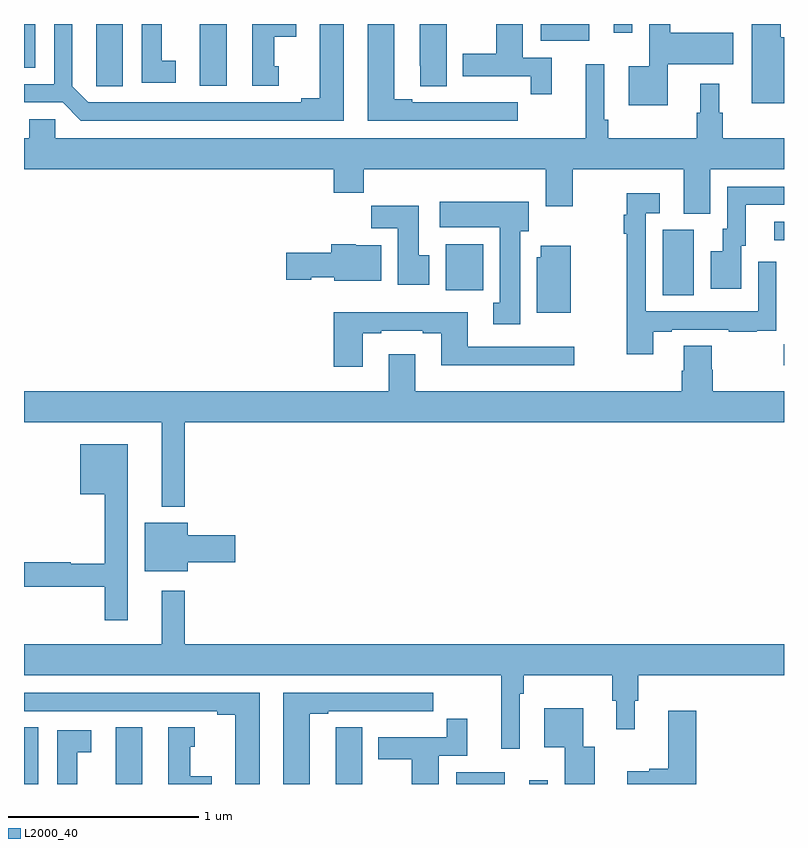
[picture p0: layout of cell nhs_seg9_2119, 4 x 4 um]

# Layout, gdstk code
import gdstk
lib = gdstk.Library(unit=1e-6, precision=1e-09)
def R(c, l, rs):  # rectangles x0, y0, x1, y1
    for r in rs: c.add(gdstk.rectangle(r[:2], r[2:], *l))
def P(c, l, *ps):  # polygons
    for p in ps: c.add(gdstk.Polygon(p, *l))
L2000_40 = (2000, 40)

nhs_seg9_2119 = lib.new_cell('nhs_seg9_2119')
R(nhs_seg9_2119, L2000_40, [(231,1210.5,231.076,1210.799), (231.482,1210.5,231.622,1210.798), (233.276,1210.5,233.53,1210.561), (233.66,1210.5,233.757,1210.519), (234.999,1212.704,235,1212.814), (234.362,1213.072,234.526,1213.416), (233.219,1213.1,233.416,1213.342), (234.948,1213.362,235,1213.458), (231.926,1214.175,232.066,1214.5), (231,1214.269,231.058,1214.5), (233.72,1214.411,233.974,1214.5), (234.104,1214.454,234.201,1214.5)])
P(nhs_seg9_2119, L2000_40, [(235,1214.43),(234.983,1214.43),(234.983,1214.5),(234.83,1214.5),(234.83,1214.082),(235,1214.082)],
  [(231.52,1214.5),(231.38,1214.5),(231.38,1214.281),(231.381,1214.281),(231.381,1214.173),(231.52,1214.173)],
  [(233.224,1214.5),(233.084,1214.5),(233.084,1214.281),(233.085,1214.281),(233.085,1214.173),(233.224,1214.173)],
  [(233.777,1214.322),(233.626,1214.322),(233.626,1214.5),(233.486,1214.5),(233.486,1214.343),(233.309,1214.343),(233.309,1214.226),(233.668,1214.226),(233.668,1214.13),(233.777,1214.13)],
  [(232.342,1214.277),(232.318,1214.277),(232.318,1214.432),(232.432,1214.432),(232.432,1214.5),(232.202,1214.5),(232.202,1214.175),(232.342,1214.175)],
  [(233.599,1214.088),(233.486,1214.088),(233.486,1214.089),(233.32,1214.089),(233.32,1214.088),(233.044,1214.088),(233.044,1214.103),(232.948,1214.103),(232.948,1214.5),(232.808,1214.5),(232.808,1213.992),(233.599,1213.992)],
  [(234.388,1214.288),(234.733,1214.288),(234.733,1214.454),(234.4,1214.454),(234.4,1214.5),(234.291,1214.5),(234.291,1214.278),(234.182,1214.278),(234.182,1214.072),(234.388,1214.072)],
  [(231.799,1214.306),(231.724,1214.306),(231.724,1214.5),(231.62,1214.5),(231.62,1214.19),(231.799,1214.19)],
  [(232.684,1214.5),(232.556,1214.5),(232.556,1214.108),(232.46,1214.108),(232.46,1214.088),(231.339,1214.088),(231.255,1214.172),(231.255,1214.5),(231.159,1214.5),(231.159,1214.184),(231,1214.184),(231,1214.088),(231.203,1214.088),(231.299,1213.992),(232.684,1213.992)],
  [(234.613,1213.736),(235,1213.736),(235,1213.9),(234.677,1213.9),(234.677,1214.034),(234.658,1214.034),(234.658,1214.185),(234.56,1214.185),(234.56,1214.034),(234.541,1214.034),(234.541,1213.9),(234.074,1213.9),(234.074,1213.996),(234.054,1213.996),(234.054,1214.287),(233.957,1214.287),(233.957,1213.9),(231.165,1213.9),(231.165,1213.998),(231.027,1213.998),(231.027,1213.9),(231,1213.9),(231,1213.736),(232.631,1213.736),(232.631,1213.612),(232.787,1213.612),(232.787,1213.736),(233.747,1213.736),(233.747,1213.542),(233.887,1213.542),(233.887,1213.736),(234.473,1213.736),(234.473,1213.501),(234.613,1213.501)],
  [(234.775,1213.332),(234.799,1213.332),(234.799,1213.548),(235,1213.548),(235,1213.644),(234.702,1213.644),(234.702,1213.422),(234.677,1213.422),(234.677,1213.303),(234.614,1213.303),(234.614,1213.107),(234.775,1213.107)],
  [(234.313,1212.879),(234.409,1212.879),(234.409,1212.891),(234.709,1212.891),(234.709,1212.879),(234.857,1212.879),(234.857,1212.885),(234.959,1212.885),(234.959,1212.994),(234.96,1212.994),(234.96,1213.249),(234.864,1213.249),(234.864,1212.987),(234.273,1212.987),(234.273,1213.503),(234.346,1213.503),(234.346,1213.609),(234.172,1213.609),(234.172,1213.496),(234.157,1213.496),(234.157,1213.396),(234.172,1213.396),(234.172,1212.762),(234.313,1212.762)],
  [(233.611,1213.41),(233.656,1213.41),(233.656,1213.564),(233.187,1213.564),(233.187,1213.43),(233.504,1213.43),(233.504,1213.034),(233.471,1213.034),(233.471,1212.921),(233.611,1212.921)],
  [(233.134,1213.284),(233.077,1213.284),(233.077,1213.543),(232.828,1213.543),(232.828,1213.424),(232.967,1213.424),(232.967,1213.128),(233.134,1213.128)],
  [(232.879,1213.336),(232.746,1213.336),(232.746,1213.342),(232.616,1213.342),(232.616,1213.296),(232.38,1213.296),(232.38,1213.154),(232.512,1213.154),(232.512,1213.166),(232.632,1213.166),(232.632,1213.148),(232.879,1213.148)],
  [(233.878,1213.333),(233.72,1213.333),(233.72,1213.272),(233.699,1213.272),(233.699,1212.98),(233.878,1212.98)],
  [(232.783,1212.873),(232.879,1212.873),(232.879,1212.885),(233.099,1212.885),(233.099,1212.873),(233.195,1212.873),(233.195,1212.704),(233.896,1212.704),(233.896,1212.801),(233.335,1212.801),(233.335,1212.982),(232.631,1212.982),(232.631,1212.696),(232.783,1212.696)],
  [(234.473,1212.806),(234.473,1212.674),(234.461,1212.674),(234.461,1212.568),(233.059,1212.568),(233.059,1212.763),(232.919,1212.763),(232.919,1212.568),(231,1212.568),(231,1212.404),(231.725,1212.404),(231.725,1211.96),(231.847,1211.96),(231.847,1212.404),(235,1212.404),(235,1212.568),(234.626,1212.568),(234.626,1212.681),(234.621,1212.681),(234.621,1212.806)],
  [(231.547,1212.289),(231.296,1212.289),(231.296,1212.026),(231.426,1212.026),(231.426,1211.659),(231.247,1211.659),(231.247,1211.666),(231,1211.666),(231,1211.538),(231.426,1211.538),(231.426,1211.361),(231.547,1211.361)],
  [(231.862,1211.668),(232.111,1211.668),(232.111,1211.81),(231.862,1211.81),(231.862,1211.875),(231.635,1211.875),(231.635,1211.621),(231.862,1211.621)],
  [(233.61,1210.976),(233.63,1210.976),(233.63,1211.072),(234.097,1211.072),(234.097,1210.938),(234.116,1210.938),(234.116,1210.788),(234.214,1210.788),(234.214,1210.938),(234.233,1210.938),(234.233,1211.072),(235,1211.072),(235,1211.236),(231.847,1211.236),(231.847,1211.518),(231.725,1211.518),(231.725,1211.236),(231,1211.236),(231,1211.072),(233.513,1211.072),(233.513,1210.686),(233.61,1210.686)],
  [(232.504,1210.869),(232.6,1210.869),(232.6,1210.884),(232.876,1210.884),(232.876,1210.883),(233.042,1210.883),(233.042,1210.884),(233.155,1210.884),(233.155,1210.98),(232.364,1210.98),(232.364,1210.5),(232.504,1210.5)],
  [(232.24,1210.98),(231,1210.98),(231,1210.884),(232.016,1210.884),(232.016,1210.864),(232.112,1210.864),(232.112,1210.5),(232.24,1210.5)],
  [(234.004,1210.696),(233.944,1210.696),(233.944,1210.9),(233.738,1210.9),(233.738,1210.694),(233.846,1210.694),(233.846,1210.5),(234.004,1210.5)],
  [(234.539,1210.885),(234.392,1210.885),(234.392,1210.58),(234.291,1210.58),(234.291,1210.567),(234.174,1210.567),(234.174,1210.5),(234.539,1210.5)],
  [(233.182,1210.65),(233.333,1210.65),(233.333,1210.843),(233.224,1210.843),(233.224,1210.746),(232.865,1210.746),(232.865,1210.63),(233.042,1210.63),(233.042,1210.5),(233.182,1210.5)],
  [(232.78,1210.799),(232.641,1210.799),(232.641,1210.691),(232.64,1210.691),(232.64,1210.5),(232.78,1210.5)],
  [(231.988,1210.54),(231.874,1210.54),(231.874,1210.695),(231.898,1210.695),(231.898,1210.798),(231.758,1210.798),(231.758,1210.5),(231.988,1210.5)],
  [(231.28,1210.666),(231.355,1210.666),(231.355,1210.782),(231.176,1210.782),(231.176,1210.5),(231.28,1210.5)])

lib.write_gds('nhs_seg9_2119.gds')
